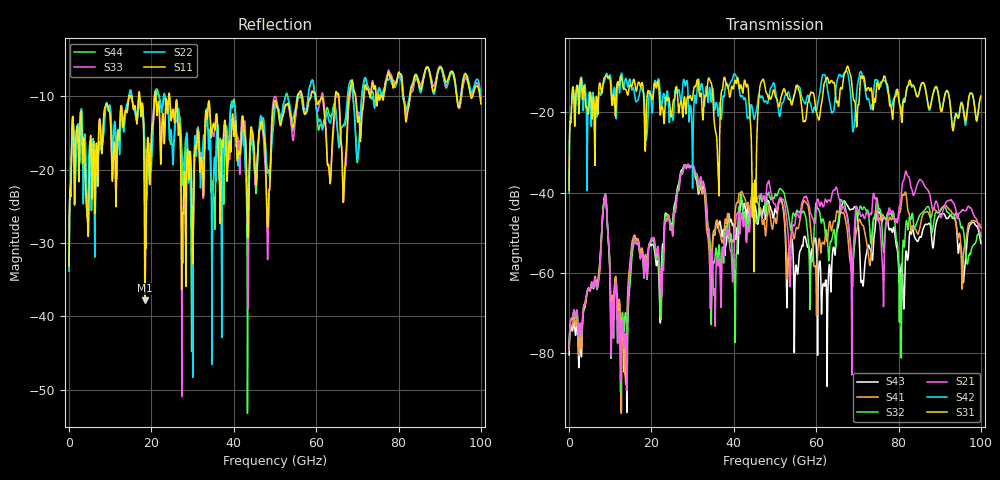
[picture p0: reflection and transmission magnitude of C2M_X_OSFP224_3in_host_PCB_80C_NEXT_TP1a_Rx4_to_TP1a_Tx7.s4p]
# GHz S RI R 45
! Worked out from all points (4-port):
!   4000 points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, 25 MHz to 100 GHz, reference 45 ohm
!   strongest paths, dB at 25 MHz, 25.02 GHz, 50.02 GHz, 75.03 GHz, 100 GHz:
!     S31: -39.4, -19.6, -15.6, -13.2, -16.0
!     S42: -40.1, -20.8, -13.9, -12.3, -15.9
!     S21: -78.6, -49.2, -42.7, -46.3, -50.1
!     S32: -78.0, -48.1, -40.4, -42.9, -50.8
!     S41: -79.1, -49.4, -46.3, -46.8, -48.7
!     S43: -80.4, -47.9, -44.0, -44.8, -52.6
!   lowest |S11| = -37.8 dB at 18.4 GHz (marker M1), VSWR 1.03, Z = 44.9 - j1.15 ohm
!   |S11| at or under -10 dB: start of sweep to 14.53 GHz; 24.45 GHz to 55.52 GHz (31.07 GHz wide, 77.7 % of centre); 59.92 GHz to 64.64 GHz (4.721 GHz wide, 7.58 % of centre) (the widest 3 of 18)
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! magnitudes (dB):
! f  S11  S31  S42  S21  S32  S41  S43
! 25 MHz  -33.1  -39.4  -40.1  -78.6  -78.0  -79.1  -80.4
! 8.65 GHz  -11.7  -11.3  -12.1  -41.1  -41.1  -40.9  -40.8
! 13.1 GHz  -14.0  -13.6  -12.9  -72.6  -70.7  -74.2  -72.9
! 18.4 GHz  -37.8  -26.8  -18.1  -58.0  -58.2  -57.0  -57.0
! 28.55 GHz  -20.1  -18.0  -12.0  -33.9  -33.8  -33.5  -33.3
! 35.35 GHz  -14.5  -23.2  -19.5  -65.4  -57.2  -50.4  -50.3
! 100 GHz  -11.0  -16.0  -15.9  -50.1  -50.8  -48.7  -52.6
